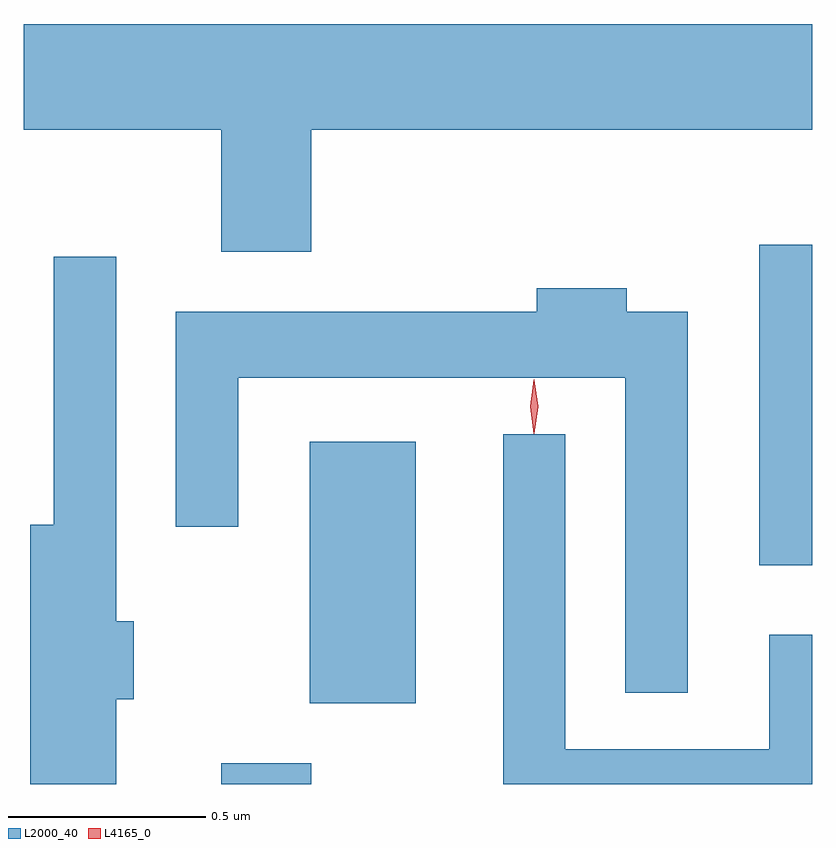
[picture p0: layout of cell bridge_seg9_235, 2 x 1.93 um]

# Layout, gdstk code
import gdstk
lib = gdstk.Library(unit=1e-6, precision=1e-09)
def R(c, l, rs):  # rectangles x0, y0, x1, y1
    for r in rs: c.add(gdstk.rectangle(r[:2], r[2:], *l))
def P(c, l, *ps):  # polygons
    for p in ps: c.add(gdstk.Polygon(p, *l))
L2000_40 = (2000, 40)
L4165_0 = (4165, 0)

bridge_seg9_235 = lib.new_cell('bridge_seg9_235')
R(bridge_seg9_235, L2000_40, [(1491.171,2003.476,1491.399,2003.529), (1491.396,2003.681,1491.664,2004.344), (1492.536,2004.031,1492.67,2004.844)])
P(bridge_seg9_235, L2000_40, [(1491.399,2005.136),(1492.67,2005.136),(1492.67,2005.404),(1490.67,2005.404),(1490.67,2005.136),(1491.171,2005.136),(1491.171,2004.826),(1491.399,2004.826)],
  [(1490.904,2003.691),(1490.949,2003.691),(1490.949,2003.889),(1490.904,2003.889),(1490.904,2004.813),(1490.746,2004.813),(1490.746,2004.134),(1490.686,2004.134),(1490.686,2003.476),(1490.904,2003.476)],
  [(1492.354,2004.674),(1492.199,2004.674),(1492.199,2004.734),(1491.971,2004.734),(1491.971,2004.674),(1491.056,2004.674),(1491.056,2004.128),(1491.214,2004.128),(1491.214,2004.506),(1492.196,2004.506),(1492.196,2003.708),(1492.354,2003.708)],
  [(1492.67,2003.854),(1492.561,2003.854),(1492.561,2003.564),(1492.044,2003.564),(1492.044,2004.363),(1491.886,2004.363),(1491.886,2003.476),(1492.67,2003.476)])
P(bridge_seg9_235, L4165_0, [(1491.964,2004.367),(1491.955,2004.434),(1491.964,2004.5),(1491.965,2004.501),(1491.965,2004.5),(1491.975,2004.434),(1491.965,2004.367),(1491.965,2004.367)],
  [(1491.964,2004.364),(1491.955,2004.433),(1491.964,2004.502),(1491.965,2004.503),(1491.965,2004.502),(1491.975,2004.433),(1491.965,2004.364),(1491.965,2004.364)])

lib.write_gds('bridge_seg9_235.gds')
